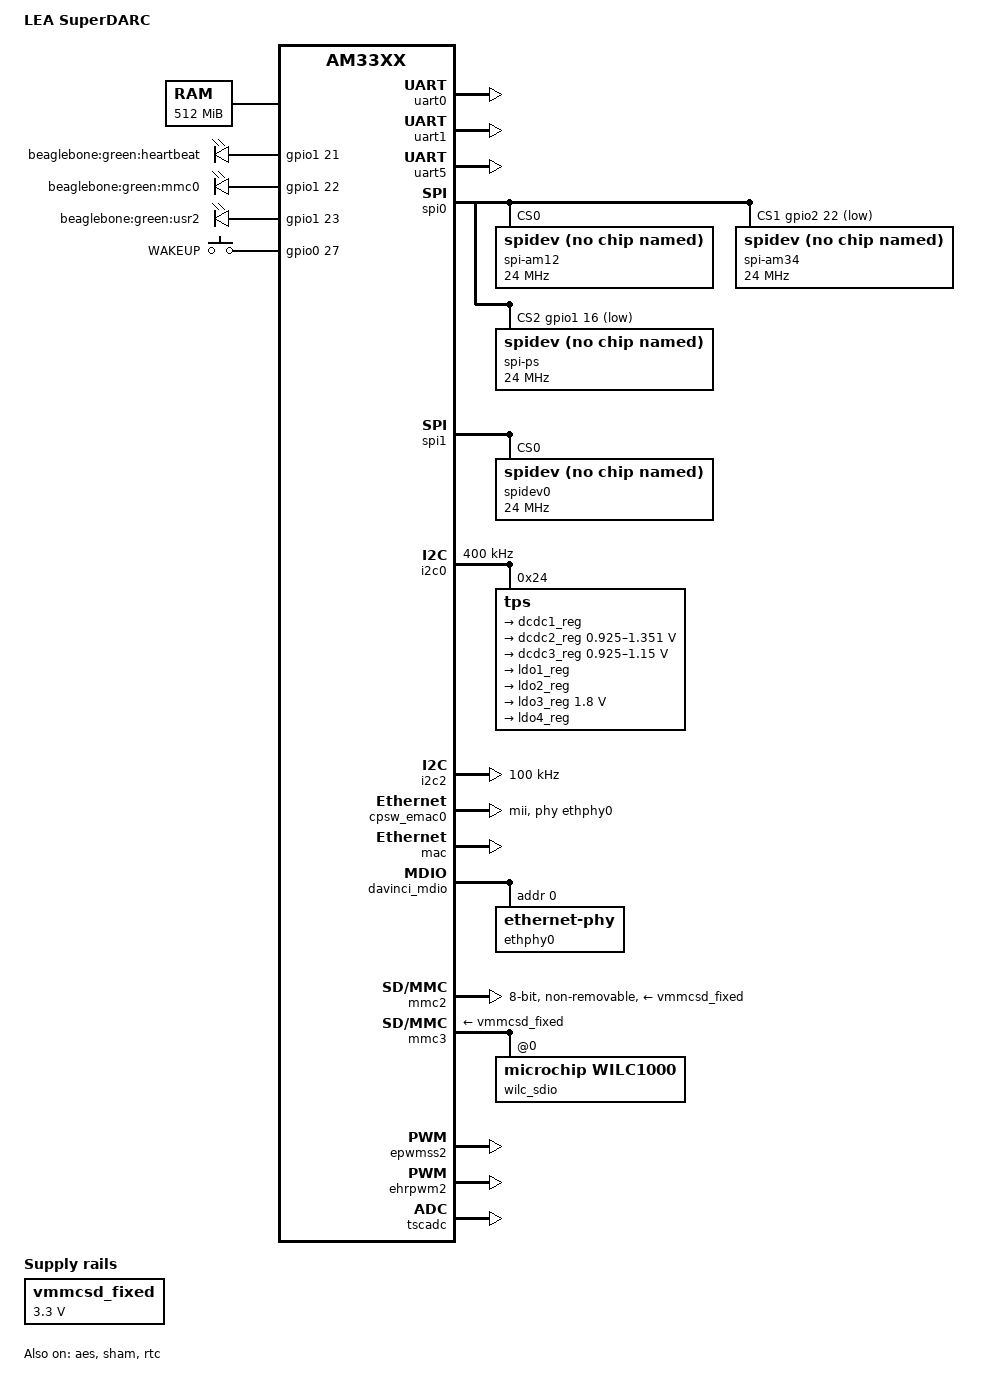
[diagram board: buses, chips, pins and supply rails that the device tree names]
// SPDX-License-Identifier: GPL-2.0-only
/*
 * Copyright (C) 2012 Texas Instruments Incorporated - https://www.ti.com/
 */
/dts-v1/;

#include "am33xx-lea-superdarc.dtsi"

/ {
	model = "LEA SuperDARC";
	compatible = "ti,am335x-bone-black", "ti,am335x-bone", "ti,am33xx";
};

/ {
	cpus {
		cpu@0 {
			cpu0-supply = <&dcdc2_reg>;
		};
	};

	memory@80000000 {
		device_type = "memory";
		reg = <0x80000000 0x20000000>; /* 512 MB */
	};

	chosen {
		stdout-path = &uart0;
	};

	leds {
		pinctrl-names = "default";
		pinctrl-0 = <&user_leds_s0>;

		compatible = "gpio-leds";

		led2 {
			label = "beaglebone:green:heartbeat";
			gpios = <&gpio1 21 GPIO_ACTIVE_HIGH>;
			linux,default-trigger = "heartbeat";
			default-state = "off";
		};

		led3 {
			label = "beaglebone:green:mmc0";
			gpios = <&gpio1 22 GPIO_ACTIVE_HIGH>;
			linux,default-trigger = "mmc0";
			default-state = "off";
		};

		led4 {
			label = "beaglebone:green:usr2";
			gpios = <&gpio1 23 GPIO_ACTIVE_HIGH>;
			linux,default-trigger = "cpu0";
			default-state = "off";
		};
	};

/* enable GPIO0[27] as active-high wakeup (note: wakeup not supported for normal gpios) */
  gpio_keys {
    compatible = "gpio-keys";
    status = "okay";
    pinctrl-names = "default";
    pinctrl-0 = <&wakeup_pins>;
    wp1 {
      label = "WAKEUP";
      gpios = <&gpio0 27 0>;
      linux,code = <52>; /* '.' */
      wakeup-source;
    };
  };

	vmmcsd_fixed: fixedregulator0 {
		compatible = "regulator-fixed";
		regulator-name = "vmmcsd_fixed";
		regulator-min-microvolt = <3300000>;
		regulator-max-microvolt = <3300000>;
	};
};

&am33xx_pinmux {

	pinctrl-names = "default";
	pinctrl-0 = <&clkout2_pin>;

	clkout2_pin: pinmux_clkout2_pin {
		pinctrl-single,pins = <
			AM33XX_PADCONF(AM335X_PIN_XDMA_EVENT_INTR1, PIN_OUTPUT_PULLDOWN, MUX_MODE3)	/* xdma_event_intr1.clkout2 */
		>;
	};

	user_leds_s0: user_leds_s0 {
		pinctrl-single,pins = <
			AM33XX_PADCONF(AM335X_PIN_GPMC_A5, PIN_OUTPUT_PULLDOWN, MUX_MODE7)	/* gpmc_a5.gpio1_21 */
			AM33XX_PADCONF(AM335X_PIN_GPMC_A6, PIN_OUTPUT_PULLUP, MUX_MODE7)	/* gpmc_a6.gpio1_22 */
			AM33XX_PADCONF(AM335X_PIN_GPMC_A7, PIN_OUTPUT_PULLDOWN, MUX_MODE7)	/* gpmc_a7.gpio1_23 */
		>;
	};

	uart0_pins: pinmux_uart0_pins {
		pinctrl-single,pins = <
			AM33XX_PADCONF(AM335X_PIN_UART0_RXD, PIN_INPUT_PULLUP, MUX_MODE0)
			AM33XX_PADCONF(AM335X_PIN_UART0_TXD, PIN_OUTPUT_PULLDOWN, MUX_MODE0)
		>;
	};

	uart1_pins: pinmux_uart1_pins {
		pinctrl-single,pins = <
			AM33XX_IOPAD(AM335X_PIN_UART1_RXD, PIN_INPUT_PULLUP | MUX_MODE0)	/* uart1_rxd.uart1_rxd */
			AM33XX_IOPAD(AM335X_PIN_UART1_TXD, PIN_OUTPUT_PULLDOWN | MUX_MODE0)	/* uart1_txd.uart1_txd */
		>;
	};

	uart5_pins: pinmux_uart5_pins {
		pinctrl-single,pins = <
			AM33XX_IOPAD(AM335X_PIN_LCD_DATA9, PIN_INPUT_PULLUP | MUX_MODE4)	/* uart5_rxd */
			AM33XX_IOPAD(AM335X_PIN_LCD_DATA8, PIN_OUTPUT_PULLDOWN | MUX_MODE4)	/* uart5_txd */
		>;
	};

  spi0_pins: pinmux_spi0_pins {
    pinctrl-single,pins = <
      AM33XX_PADCONF(AM335X_PIN_SPI0_SCLK, PIN_INPUT_PULLUP, MUX_MODE0)	/* spi0 sclk (this is a quirk - sclk is actually an output, but pinmux must be programmed as an input for it to work! */
      AM33XX_PADCONF(AM335X_PIN_SPI0_D0, PIN_INPUT_PULLUP, MUX_MODE0)	  /* spi0 d0 */
      AM33XX_PADCONF(AM335X_PIN_SPI0_D1, PIN_OUTPUT_PULLUP, MUX_MODE0)	/* spi0 d1 */
      AM33XX_PADCONF(AM335X_PIN_SPI0_CS0, PIN_OUTPUT_PULLUP, MUX_MODE0)	/* spi0 cs0 */
    >;
  };

	spi1_pins: pinmux_spi1_pins {
		pinctrl-single,pins = <
			AM33XX_PADCONF(AM335X_PIN_MCASP0_ACLKX, PIN_INPUT_PULLUP, MUX_MODE3)	/* P9_31 spi1 sclk (this is a quirk - sclk is actually an output, but pinmux must be programmed as an input for it to work! */
			AM33XX_PADCONF(AM335X_PIN_MCASP0_FSX, PIN_INPUT_PULLUP, MUX_MODE3)	  /* P9_29 spi1 d0 */
			AM33XX_PADCONF(AM335X_PIN_MCASP0_AXR0, PIN_OUTPUT_PULLDOWN, MUX_MODE3)	/* P9_30 spi1 d1 */
			AM33XX_PADCONF(AM335X_PIN_MCASP0_AHCLKR, PIN_OUTPUT_PULLDOWN, MUX_MODE3)	/* P9_28 spi1 cs0 */
		>;
	};

	i2c0_pins: pinmux_i2c0_pins {
		pinctrl-single,pins = <
			AM33XX_PADCONF(AM335X_PIN_I2C0_SDA, PIN_INPUT_PULLUP, MUX_MODE0)	/* i2c0_sda.i2c0_sda */
			AM33XX_PADCONF(AM335X_PIN_I2C0_SCL, PIN_INPUT_PULLUP, MUX_MODE0)	/* i2c0_scl.i2c0_scl */
		>;
	};

	i2c2_pins: pinmux_i2c2_pins {
		pinctrl-single,pins = <
			AM33XX_PADCONF(AM335X_PIN_UART1_CTSN, PIN_INPUT_PULLUP, MUX_MODE3)	/* uart1_ctsn.i2c2_sda */
			AM33XX_PADCONF(AM335X_PIN_UART1_RTSN, PIN_INPUT_PULLUP, MUX_MODE3)	/* uart1_rtsn.i2c2_scl */
		>;
	};

	cpsw_default: cpsw_default {
		pinctrl-single,pins = <
			/* Slave 1 */
			AM33XX_PADCONF(AM335X_PIN_MII1_RX_ER, PIN_INPUT_PULLUP, MUX_MODE0)
			AM33XX_PADCONF(AM335X_PIN_MII1_TX_EN, PIN_OUTPUT_PULLDOWN, MUX_MODE0)
			AM33XX_PADCONF(AM335X_PIN_MII1_RX_DV, PIN_INPUT_PULLUP, MUX_MODE0)
			AM33XX_PADCONF(AM335X_PIN_MII1_TXD3, PIN_OUTPUT_PULLDOWN, MUX_MODE0)
			AM33XX_PADCONF(AM335X_PIN_MII1_TXD2, PIN_OUTPUT_PULLDOWN, MUX_MODE0)
			AM33XX_PADCONF(AM335X_PIN_MII1_TXD1, PIN_OUTPUT_PULLDOWN, MUX_MODE0)
			AM33XX_PADCONF(AM335X_PIN_MII1_TXD0, PIN_OUTPUT_PULLDOWN, MUX_MODE0)
			AM33XX_PADCONF(AM335X_PIN_MII1_TX_CLK, PIN_INPUT_PULLUP, MUX_MODE0)
			AM33XX_PADCONF(AM335X_PIN_MII1_RX_CLK, PIN_INPUT_PULLUP, MUX_MODE0)
			AM33XX_PADCONF(AM335X_PIN_MII1_RXD3, PIN_INPUT_PULLUP, MUX_MODE0)
			AM33XX_PADCONF(AM335X_PIN_MII1_RXD2, PIN_INPUT_PULLUP, MUX_MODE0)
			AM33XX_PADCONF(AM335X_PIN_MII1_RXD1, PIN_INPUT_PULLUP, MUX_MODE0)
			AM33XX_PADCONF(AM335X_PIN_MII1_RXD0, PIN_INPUT_PULLUP, MUX_MODE0)
		>;
	};

	cpsw_sleep: cpsw_sleep {
		pinctrl-single,pins = <
			/* Slave 1 reset value */
			AM33XX_PADCONF(AM335X_PIN_MII1_RX_ER, PIN_INPUT_PULLDOWN, MUX_MODE7)
			AM33XX_PADCONF(AM335X_PIN_MII1_TX_EN, PIN_INPUT_PULLDOWN, MUX_MODE7)
			AM33XX_PADCONF(AM335X_PIN_MII1_RX_DV, PIN_INPUT_PULLDOWN, MUX_MODE7)
			AM33XX_PADCONF(AM335X_PIN_MII1_TXD3, PIN_INPUT_PULLDOWN, MUX_MODE7)
			AM33XX_PADCONF(AM335X_PIN_MII1_TXD2, PIN_INPUT_PULLDOWN, MUX_MODE7)
			AM33XX_PADCONF(AM335X_PIN_MII1_TXD1, PIN_INPUT_PULLDOWN, MUX_MODE7)
			AM33XX_PADCONF(AM335X_PIN_MII1_TXD0, PIN_INPUT_PULLDOWN, MUX_MODE7)
			AM33XX_PADCONF(AM335X_PIN_MII1_TX_CLK, PIN_INPUT_PULLDOWN, MUX_MODE7)
			AM33XX_PADCONF(AM335X_PIN_MII1_RX_CLK, PIN_INPUT_PULLDOWN, MUX_MODE7)
			AM33XX_PADCONF(AM335X_PIN_MII1_RXD3, PIN_INPUT_PULLDOWN, MUX_MODE7)
			AM33XX_PADCONF(AM335X_PIN_MII1_RXD2, PIN_INPUT_PULLDOWN, MUX_MODE7)
			AM33XX_PADCONF(AM335X_PIN_MII1_RXD1, PIN_INPUT_PULLDOWN, MUX_MODE7)
			AM33XX_PADCONF(AM335X_PIN_MII1_RXD0, PIN_INPUT_PULLDOWN, MUX_MODE7)
		>;
	};

	davinci_mdio_default: davinci_mdio_default {
		pinctrl-single,pins = <
			/* MDIO */
			AM33XX_PADCONF(AM335X_PIN_MDIO, PIN_INPUT_PULLUP | SLEWCTRL_FAST, MUX_MODE0)
			AM33XX_PADCONF(AM335X_PIN_MDC, PIN_OUTPUT_PULLUP, MUX_MODE0)
		>;
	};

	davinci_mdio_sleep: davinci_mdio_sleep {
		pinctrl-single,pins = <
			/* MDIO reset value */
			AM33XX_PADCONF(AM335X_PIN_MDIO, PIN_INPUT_PULLDOWN, MUX_MODE7)
			AM33XX_PADCONF(AM335X_PIN_MDC, PIN_INPUT_PULLDOWN, MUX_MODE7)
		>;
	};

	emmc_pins: pinmux_emmc_pins {
		pinctrl-single,pins = <
			AM33XX_PADCONF(AM335X_PIN_GPMC_CSN1, PIN_INPUT_PULLUP, MUX_MODE2) /* gpmc_csn1.mmc1_clk */
			AM33XX_PADCONF(AM335X_PIN_GPMC_CSN2, PIN_INPUT_PULLUP, MUX_MODE2) /* gpmc_csn2.mmc1_cmd */
			AM33XX_PADCONF(AM335X_PIN_GPMC_AD0, PIN_INPUT_PULLUP, MUX_MODE1) /* gpmc_ad0.mmc1_dat0 */
			AM33XX_PADCONF(AM335X_PIN_GPMC_AD1, PIN_INPUT_PULLUP, MUX_MODE1) /* gpmc_ad1.mmc1_dat1 */
			AM33XX_PADCONF(AM335X_PIN_GPMC_AD2, PIN_INPUT_PULLUP, MUX_MODE1) /* gpmc_ad2.mmc1_dat2 */
			AM33XX_PADCONF(AM335X_PIN_GPMC_AD3, PIN_INPUT_PULLUP, MUX_MODE1) /* gpmc_ad3.mmc1_dat3 */
			AM33XX_PADCONF(AM335X_PIN_GPMC_AD4, PIN_INPUT_PULLUP, MUX_MODE1) /* gpmc_ad4.mmc1_dat4 */
			AM33XX_PADCONF(AM335X_PIN_GPMC_AD5, PIN_INPUT_PULLUP, MUX_MODE1) /* gpmc_ad5.mmc1_dat5 */
			AM33XX_PADCONF(AM335X_PIN_GPMC_AD6, PIN_INPUT_PULLUP, MUX_MODE1) /* gpmc_ad6.mmc1_dat6 */
			AM33XX_PADCONF(AM335X_PIN_GPMC_AD7, PIN_INPUT_PULLUP, MUX_MODE1) /* gpmc_ad7.mmc1_dat7 */
		>;
	};

  wifi_pins: pinmux_wifi_pins {
    pinctrl-single,pins = <
      AM33XX_PADCONF(AM335X_PIN_GPMC_CLK, PIN_INPUT_PULLUP, MUX_MODE3) /* wifi_mmc2_clk  GPMC_CLK  / GPIO2_1  (V12) */
      AM33XX_PADCONF(AM335X_PIN_GPMC_CSN3, PIN_INPUT_PULLUP, MUX_MODE3) /* wifi_mmc2_cmd  GPMC_CSN3 / GPIO2_0  (T13) */
      AM33XX_PADCONF(AM335X_PIN_GPMC_AD12, PIN_INPUT_PULLUP, MUX_MODE3) /* wifi_mmc2_dat0 GPMC_AD12 / GPIO1_12 (T12) */
      AM33XX_PADCONF(AM335X_PIN_GPMC_AD13, PIN_INPUT_PULLUP, MUX_MODE3) /* wifi_mmc2_dat1 GPMC_AD13 / GPIO1_13 (R12) */
      AM33XX_PADCONF(AM335X_PIN_GPMC_AD14, PIN_INPUT_PULLUP, MUX_MODE3) /* wifi_mmc2_dat2 GPMC_AD14 / GPIO1_14 (V13) */
      AM33XX_PADCONF(AM335X_PIN_GPMC_AD15, PIN_INPUT_PULLUP, MUX_MODE3) /* wifi_mmc2_dat3 GPMC_AD15 / GPIO1_15 (U13) */
      //AM33XX_PADCONF(AM335X_PIN_GPMC_A1, PIN_INPUT_PULLUP, MUX_MODE7) /* wifi_mmc2_/rst GPMC_A1   / GPIO1_17 (V14) */
      //AM33XX_PADCONF(AM335X_PIN_UART0_RTSN, PIN_INPUT_PULLUP, MUX_MODE7) /* 3.3V switched power supply enable UART0_RTS / GPIO1_9 */
    >;
  };

	ehrpwm1_pins: pinmux_ehrpwm1_pins {
		pinctrl-single,pins = <
			/* AM33XX_PADCONF(AM335X_PIN_GPMC_A2, PIN_OUTPUT_PULLDOWN, MUX_MODE6) *//* ehrpwm1 A */
			/* AM33XX_PADCONF(AM335X_PIN_GPMC_A3, PIN_OUTPUT_PULLDOWN, MUX_MODE6) *//* ehrpwm1 B */
		>;
	};
	ehrpwm2_pins: pinmux_ehrpwm2_pins {
		pinctrl-single,pins = <
			AM33XX_PADCONF(AM335X_PIN_GPMC_AD8, PIN_OUTPUT_PULLDOWN, MUX_MODE4)	/* ehrpwm2 A */
			/* AM33XX_PADCONF(AM335X_PIN_GPMC_AD9, PIN_OUTPUT_PULLDOWN, MUX_MODE4) *//* ehrpwm2 B */
		>;
	};

	/* enable GPIO0[27] as active-high wakeup (must be a gpio-key in order to do this) */
  wakeup_pins: pinmux_wakeup_pins {
    pinctrl-single,pins = <
      AM33XX_PADCONF(AM335X_PIN_GPMC_AD11, PIN_INPUT_PULLUP, MUX_MODE7) /* gpmc_ad11  / GPIO0_27  (U12) */
    >;
	};
};

&uart0 {
	pinctrl-names = "default";
	pinctrl-0 = <&uart0_pins>;
	status = "okay";
};

&uart1 {
	pinctrl-names = "default";
	pinctrl-0 = <&uart1_pins>;
	status = "okay";
};

&uart5 {
	pinctrl-names = "default";
	pinctrl-0 = <&uart5_pins>;
	status = "okay";
};

&spi0 { 
    status = "okay";
    pinctrl-names = "default";
    pinctrl-0 = <&spi0_pins>;
    cs-gpios = <0>, <&gpio2 22 GPIO_ACTIVE_LOW>, <&gpio1 16 GPIO_ACTIVE_LOW>;
    spi-am12@0 {
        spi-max-frequency = <24000000>;
        reg = <0>;
        compatible = "linux,spidev";
    };
    spi-am34@1 {
        spi-max-frequency = <24000000>;
        reg = <1>;
        compatible = "linux,spidev";
    };
    spi-ps@2 {
        spi-max-frequency = <24000000>;
        reg = <2>;
        compatible = "linux,spidev";
    };
};

&spi1 {
    status = "okay";
    pinctrl-names = "default";
    pinctrl-0 = <&spi1_pins>;


    spidev0@1 {
        spi-max-frequency = <24000000>;
        reg = <0>;
        compatible = "linux,spidev";
    };
};

&i2c0 {
	pinctrl-names = "default";
	pinctrl-0 = <&i2c0_pins>;
	status = "okay";
	clock-frequency = <400000>;
	tps: tps@24 {
		reg = <0x24>;
	};
};

&i2c2 {
	pinctrl-names = "default";
	pinctrl-0 = <&i2c2_pins>;
	status = "okay";
	clock-frequency = <100000>;
};

/include/ "tps65217.dtsi"

&tps {
	/*
	 * Configure pmic to enter OFF-state instead of SLEEP-state ("RTC-only
	 * mode") at poweroff.  Most BeagleBone versions do not support RTC-only
	 * mode and risk hardware damage if this mode is entered.
	 *
	 * For details, see linux-omap mailing list May 2015 thread
	 *	[PATCH] ARM: dts: am335x-bone* enable pmic-shutdown-controller
	 * In particular, messages:
	 *	http://www.spinics.net/lists/linux-omap/msg118585.html
	 *	http://www.spinics.net/lists/linux-omap/msg118615.html
	 *
	 * You can override this later with
	 *	&tps {  /delete-property/ ti,pmic-shutdown-controller;  }
	 * if you want to use RTC-only mode and made sure you are not affected
	 * by the hardware problems. (Tip: double-check by performing a current
	 * measurement after shutdown: it should be less than 1 mA.)
	 */

	interrupts = <7>; /* NMI */
	interrupt-parent = <&intc>;

	ti,pmic-shutdown-controller;

	charger {
		status = "okay";
	};

	pwrbutton {
		status = "okay";
	};

	regulators {
		dcdc1_reg: regulator@0 {
			regulator-name = "vdds_dpr";
			regulator-always-on;
		};

		dcdc2_reg: regulator@1 {
			/* VDD_MPU voltage limits 0.95V - 1.26V with +/-4% tolerance */
			regulator-name = "vdd_mpu";
			regulator-min-microvolt = <925000>;
			regulator-max-microvolt = <1351500>;
			regulator-boot-on;
			regulator-always-on;
		};

		dcdc3_reg: regulator@2 {
			/* VDD_CORE voltage limits 0.95V - 1.1V with +/-4% tolerance */
			regulator-name = "vdd_core";
			regulator-min-microvolt = <925000>;
			regulator-max-microvolt = <1150000>;
			regulator-boot-on;
			regulator-always-on;
		};

		ldo1_reg: regulator@3 {
			regulator-name = "vio,vrtc,vdds";
			regulator-always-on;
		};

		ldo2_reg: regulator@4 {
			regulator-name = "vdd_3v3aux";
			regulator-always-on;
		};

		ldo3_reg: regulator@5 {
			regulator-name = "vdd_1v8";
			regulator-always-on;
		};

		ldo4_reg: regulator@6 {
			regulator-name = "vdd_3v3a";
			regulator-always-on;
		};
	};
};

&cpsw_emac0 {
	phy-handle = <&ethphy0>;
	phy-mode = "mii";
	ti,dual-emac-pvid = <1>;
};

&cpsw_emac1 {
	status = "disabled";
};

&mac {
	pinctrl-names = "default", "sleep";
	pinctrl-0 = <&cpsw_default>;
	pinctrl-1 = <&cpsw_sleep>;
	status = "okay";
};

&davinci_mdio {
	pinctrl-names = "default", "sleep";
	pinctrl-0 = <&davinci_mdio_default>;
	pinctrl-1 = <&davinci_mdio_sleep>;
 status = "okay";
	ethphy0: ethernet-phy@0 {
		reg = <0>;
	};
};

&aes {
	status = "okay";
};

&sham {
	status = "okay";
};

&rtc {
	clocks = <&clk_32768_ck>, <&clk_24mhz_clkctrl AM3_CLK_24MHZ_CLKDIV32K_CLKCTRL 0>;
	clock-names = "ext-clk", "int-clk";
	system-power-controller;
	status = "okay";
};


&ldo3_reg {
	regulator-min-microvolt = <1800000>;
	regulator-max-microvolt = <1800000>;
	regulator-always-on;
};

&mmc2 {
	vmmc-supply = <&vmmcsd_fixed>;
	pinctrl-names = "default";
	pinctrl-0 = <&emmc_pins>;
	bus-width = <8>;
	status = "okay";
	non-removable;
};

&mmc3 {
  vmmc-supply = <&vmmcsd_fixed>;
  pinctrl-names = "default";
  pinctrl-0 = <&wifi_pins>;
  max-frequency = <25000000>;
  dmas = <&edma_xbar 12 0 1>, <&edma_xbar 13 0 2>;
  dma-names = "tx", "rx";
  status = "okay";
  //non-removable;
  //broken-cd;
  wilc_sdio@0 {
    compatible = "microchip,wilc1000";
    status = "okay";
    reg = <0x0>;
    bus-width = <0x4>;
    clocks = <&clk_32768_ck>;
    clock-names = "rtc";
  };
};

/*
&epwmss1 {
  status = "okay";
};
&ehrpwm1 {
  pinctrl-names = "default";
  pinctrl-0 = <&ehrpwm1_pins>;
  status = "okay";
};
*/
&epwmss2 {
  status = "okay";
};
&ehrpwm2 {
  pinctrl-names = "default";
  pinctrl-0 = <&ehrpwm2_pins>;
  status = "okay";
};

&cpu0_opp_table {
	/*
	 * All PG 2.0 silicon may not support 1GHz but some of the early
	 * BeagleBone Blacks have PG 2.0 silicon which is guaranteed
	 * to support 1GHz OPP so enable it for PG 2.0 on this board.
	 */
	oppnitro-1000000000 {
		opp-supported-hw = <0x06 0x0100>;
	};
};

&gpio0 {
	gpio-line-names =
		"[mdio_data]",
		"[mdio_clk]",
		"P9_22 [spi0_sclk]",
		"P9_21 [spi0_d0]",
		"P9_18 [spi0_d1]",
		"P9_17 [spi0_cs0]",
		"[mmc0_cd]",
		"P8_42A [ecappwm0]",
		"P8_35 [lcd d12]",
		"P8_33 [lcd d13]",
		"P8_31 [lcd d14]",
		"P8_32 [lcd d15]",
		"P9_20 [i2c2_sda]",
		"P9_19 [i2c2_scl]",
		"P9_26 [uart1_rxd]",
		"P9_24 [uart1_txd]",
		"[rmii1_txd3]",
		"[rmii1_txd2]",
		"[usb0_drvvbus]",
		"[hdmi cec]",
		"P9_41B",
		"[rmii1_txd1]",
		"P8_19 [ehrpwm2a]",
		"P8_13 [ehrpwm2b]",
		"NC",
		"NC",
		"P8_14",
		"P8_17",
		"[rmii1_txd0]",
		"[rmii1_refclk]",
		"P9_11 [uart4_rxd]",
		"P9_13 [uart4_txd]";
};

&gpio1 {
	gpio-line-names =
		"P8_25 [mmc1_dat0]",
		"[mmc1_dat1]",
		"P8_5 [mmc1_dat2]",
		"P8_6 [mmc1_dat3]",
		"P8_23 [mmc1_dat4]",
		"P8_22 [mmc1_dat5]",
		"P8_3 [mmc1_dat6]",
		"P8_4 [mmc1_dat7]",
		"NC",
		"NC",
		"NC",
		"NC",
		"P8_12",
		"P8_11",
		"P8_16",
		"P8_15",
		"P9_15A",
		"P9_23",
		"P9_14 [ehrpwm1a]",
		"P9_16 [ehrpwm1b]",
		"[emmc rst]",
		"[usr0 led]",
		"[usr1 led]",
		"[usr2 led]",
		"[usr3 led]",
		"[hdmi irq]",
		"[usb vbus oc]",
		"[hdmi audio]",
		"P9_12",
		"P8_26",
		"P8_21 [emmc]",
		"P8_20 [emmc]";
};

&gpio2 {
	gpio-line-names =
		"P9_15B",
		"P8_18",
		"P8_7",
		"P8_8",
		"P8_10",
		"P8_9",
		"P8_45 [hdmi]",
		"P8_46 [hdmi]",
		"P8_43 [hdmi]",
		"P8_44 [hdmi]",
		"P8_41 [hdmi]",
		"P8_42 [hdmi]",
		"P8_39 [hdmi]",
		"P8_40 [hdmi]",
		"P8_37 [hdmi]",
		"P8_38 [hdmi]",
		"P8_36 [hdmi]",
		"P8_34 [hdmi]",
		"[rmii1_rxd3]",
		"[rmii1_rxd2]",
		"[rmii1_rxd1]",
		"[rmii1_rxd0]",
		"P8_27 [hdmi]",
		"P8_29 [hdmi]",
		"P8_28 [hdmi]",
		"P8_30 [hdmi]",
		"[mmc0_dat3]",
		"[mmc0_dat2]",
		"[mmc0_dat1]",
		"[mmc0_dat0]",
		"[mmc0_clk]",
		"[mmc0_cmd]";
};

&gpio3 {
	gpio-line-names =
		"[mii col]",
		"[mii crs]",
		"[mii rx err]",
		"[mii tx en]",
		"[mii rx dv]",
		"[i2c0 sda]",
		"[i2c0 scl]",
		"[jtag emu0]",
		"[jtag emu1]",
		"[mii tx clk]",
		"[mii rx clk]",
		"NC",
		"NC",
		"[usb vbus en]",
		"P9_31 [spi1_sclk]",
		"P9_29 [spi1_d0]",
		"P9_30 [spi1_d1]",
		"P9_28 [spi1_cs0]",
		"P9_42B [ecappwm0]",
		"P9_27",
		"P9_41A",
		"P9_25",
		"NC",
		"NC",
		"NC",
		"NC",
		"NC",
		"NC",
		"NC",
		"NC",
		"NC",
		"NC";
};

/* enable adc inputs 0 - 7 */
/* set channel avg/opendelay/sampledelay so a single channel is sampled at approx 48KHz */
/* ADC cycles = opendelay + (sampledelay + convtime) * (avg+1), where convtime = 15 and ADC clock = ~3MHz */
&tscadc {
  status = "okay";
  adc {
    ti,adc-channels = <0 1 2 3 4 5 6 7>;
	   ti,chan-step-avg = <0 0 0 0 0 0 0 0>;
	   ti,chan-step-opendelay= <20 20 20 20 20 20 20 20>;
	   ti,chan-step-sampledelay = <27 27 27 27 27 27 27 27>;
  };
};
